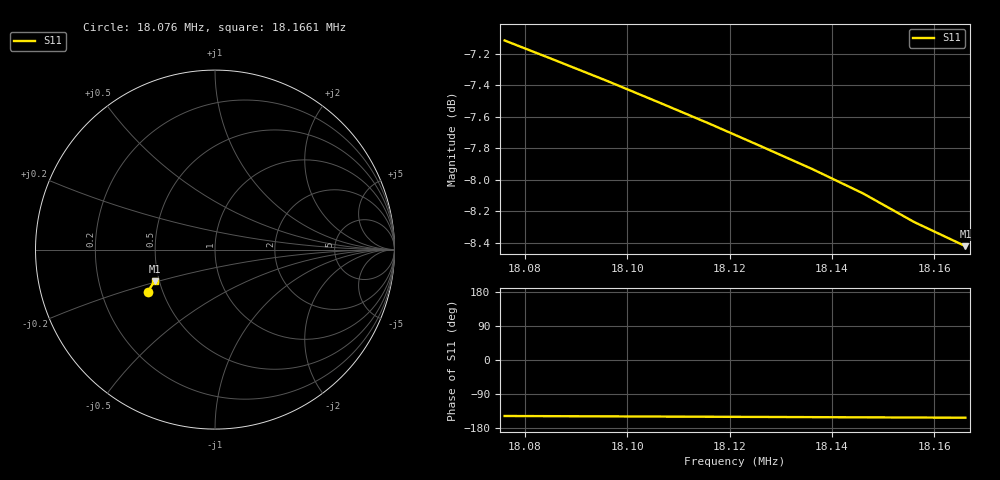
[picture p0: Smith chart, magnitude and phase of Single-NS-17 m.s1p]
# HZ S RI R 50
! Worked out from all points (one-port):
!   10 points, 18.076 MHz to 18.1661 MHz, reference 50 ohm
!   lowest |S11| = -8.4 dB at 18.1661 MHz (marker M1), VSWR 2.22, Z = 23.6 - j9.71 ohm
!   |S11| at or under -10 dB: nowhere
1.807603e7  -0.3728 -0.2351
1.808603e7  -0.3694 -0.2284
1.809604e7  -0.3658 -0.222
1.810604e7  -0.3621 -0.2154
1.811604e7  -0.3583 -0.2089
1.812605e7  -0.3542 -0.2025
1.813605e7  -0.3502 -0.1959
1.814606e7  -0.3457 -0.1893
1.815606e7  -0.3402 -0.1825
1.816606e7  -0.3358 -0.1763
